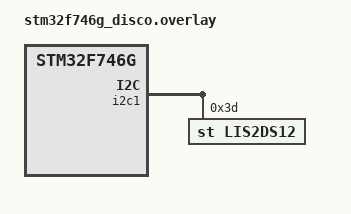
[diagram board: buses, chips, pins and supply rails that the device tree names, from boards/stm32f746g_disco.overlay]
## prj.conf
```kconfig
CONFIG_ZPL=y
CONFIG_ZPL_TRACE=y
CONFIG_ZPL_TRACE_FULL_MODE=y

CONFIG_ZPL_TVM_EVENTS=y
CONFIG_ZPL_TVM_PROFILER=y

CONFIG_SYS_HEAP_ARRAY_SIZE=4
CONFIG_HEAP_MEM_POOL_SIZE=256
CONFIG_COMMON_LIBC_MALLOC=y
CONFIG_ZPL_MEMORY_PROFILING=y
CONFIG_ZPL_MEMORY_PROFILING_INTERVAL=100
CONFIG_ZPL_MEMORY_PROFILING_THREAD_PRIORITY=-1

CONFIG_CPU_LOAD=y
CONFIG_ZPL_CPU_LOAD_TRACE=y
CONFIG_ZPL_CPU_LOAD_PROFILING=y
CONFIG_ZPL_CPU_LOAD_PROFILING_INTERVAL=100
CONFIG_ZPL_CPU_LOAD_PROFILING_THREAD_PRIORITY=-1

CONFIG_TRACING_BUFFER_SIZE=4096
CONFIG_TRACING_SYNC=y
CONFIG_MAIN_STACK_SIZE=3072

CONFIG_I2C=y
CONFIG_SENSOR=y

CONFIG_TIMING_FUNCTIONS=y
CONFIG_TEST_RANDOM_GENERATOR=y
CONFIG_ZEPHYR_TVM_MODULE=y
CONFIG_ZEPHYR_DLPACK_MODULE=y
```

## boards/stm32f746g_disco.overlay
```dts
/ {
	chosen {
		zephyr,tracing-uart = &usart1;
	};
	aliases {
		accel = &lis2ds12;
	};
};

&i2c1 {
    lis2ds12: lis2ds12@3d {
        compatible = "st,lis2ds12";
        reg = <0x3d>;
        status = "okay";
    };
    status = "okay";
};
```

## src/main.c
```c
#include <zpl/lib.h>

#include <zephyr/drivers/sensor.h>
#include <zephyr/kernel.h>
#include <zephyr/random/random.h>
#include <generated/model_data_graph.h>
#include <generated/model_data_params.h>
#include <model.h>

#define INPUT_SHAPE_0 128
#define INPUT_SHAPE_1 3

#define OUTPUT_SHAPE_0 1
#define OUTPUT_SHAPE_1 4

static float data_buffer[INPUT_SHAPE_0][INPUT_SHAPE_1];
const struct device *const accelerometer = DEVICE_DT_GET(DT_ALIAS(accel));

/**
 * Magic Wand dataset classes
 */
const char *class_names[OUTPUT_SHAPE_1] = {"wing", "ring", "slope", "negative"};

static bool run_inference = false;

void read_accel_data(float *x, float *y, float *z);

void read_input(float *model_input);

int main(void)
{
	int status = 0;
	float __attribute((aligned(32))) model_input[INPUT_SHAPE_0][INPUT_SHAPE_1];
	float __attribute((aligned(32))) model_output[OUTPUT_SHAPE_0][OUTPUT_SHAPE_1];

	zpl_init();

	status = model_init();
	if (status) {
		printk("Model init failed %d\n", status);
		return 1;
	}

	status = model_load(model_data_graph, model_data_graph_len, model_data_params,
			    model_data_params_len);
	if (status) {
		printk("Model load failed %d\n", status);
		return 1;
	}

	for (;;) {
		read_input((float *)model_input);
		status = model_load_input((uint8_t *)model_input,
					  sizeof(float) * INPUT_SHAPE_0 * INPUT_SHAPE_1);
		if (status) {
			printk("Model load input failed %d\n", status);
			break;
		}

		if (!run_inference) {
			continue;
		}

		status = model_run();
		if (status) {
			printk("Model run failed %d\n", status);
			break;
		}

		status = model_get_output((uint8_t *)model_output);
		if (status) {
			printk("Model get output failed %d\n", status);
			break;
		}
		printk("model output: ");
		for (int i = 0; i < OUTPUT_SHAPE_1; ++i) {
			int value_int = (int)(1000 * model_output[0][i]);
			printk("%s=%d.%03d ", class_names[i], value_int / 1000, value_int % 1000);
		}
		printk("\n");
	}

	return 0;
}

void read_accel_data(float *x, float *y, float *z)
{
	struct sensor_value val[3];
	int32_t ret = 0;

	*x = 0.0f;
	*y = 0.0f;
	*z = 0.0f;

	do {
		if (!device_is_ready(accelerometer)) {
			printk("%s: not ready\n", accelerometer->name);
			break;
		}

		ret = sensor_sample_fetch(accelerometer);
		if (ret < 0 && ret != -EBADMSG) {
			printk("%s: failed to fetch sample\n", accelerometer->name);
			break;
		}

		ret = sensor_channel_get(accelerometer, SENSOR_CHAN_ACCEL_XYZ, val);
		if (ret < 0) {
			printk("%s: failed to read channel\n", accelerometer->name);
			break;
		}

		*x = sensor_value_to_float(&val[0]);
		*y = sensor_value_to_float(&val[1]);
		*z = sensor_value_to_float(&val[2]);

		printk("%s: ", accelerometer->name);
		printk("x=%+d.%03d ", (int)(*x), abs((int)((*x) * 1000)) % 1000);
		printk("y=%+d.%03d ", (int)(*y), abs((int)((*y) * 1000)) % 1000);
		printk("z=%+d.%03d\n", (int)(*z), abs((int)((*z) * 1000)) % 1000);
	} while (0);
}

void read_input(float *model_input)
{
	static int sample_idx = 0;
	float x, y, z;
	int input_offset;

	read_accel_data(&x, &y, &z);

	/* convert to mili G */
	data_buffer[sample_idx][0] = 1000.0f * x;
	data_buffer[sample_idx][1] = 1000.0f * y;
	data_buffer[sample_idx][2] = 1000.0f * z;

	++sample_idx;
	sample_idx %= INPUT_SHAPE_0;

	/* run inference every 16 samples */
	run_inference = (sample_idx % 16) == 0;

	input_offset = sample_idx * INPUT_SHAPE_1;

	memcpy(model_input, &data_buffer[sample_idx][0],
	       (INPUT_SHAPE_0 - sample_idx) * sizeof(float) * INPUT_SHAPE_1);
	if (sample_idx > 0) {
		memcpy(&model_input[(INPUT_SHAPE_0 - sample_idx) * INPUT_SHAPE_1], data_buffer,
		       sample_idx * sizeof(float) * INPUT_SHAPE_1);
	}
}
```
